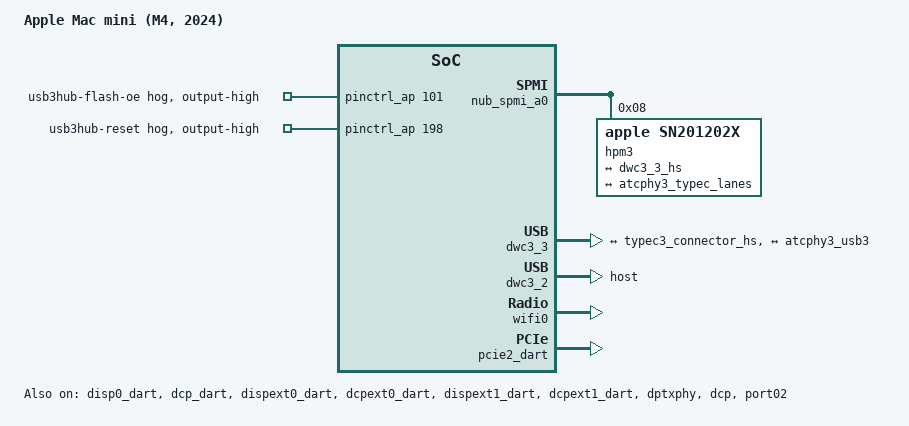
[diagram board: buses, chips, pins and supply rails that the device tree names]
// SPDX-License-Identifier: GPL-2.0+ OR MIT
/*
 * Apple Mac mini (M4, 2024)
 *
 * target-type: J773g
 *
 * Copyright The Asahi Linux Contributors
 */

/dts-v1/;

#include "t8132.dtsi"
#include "t8132-jxxx.dtsi"

/ {
	compatible = "apple,j773g", "apple,t8132", "apple,arm-platform";
	model = "Apple Mac mini (M4, 2024)";

	aliases {
		ethernet0 = &ethernet0;
	};
};

/* Persistent console capture for early T8132 bring-up failures.  Keep this
 * near the top of RAM, outside m1n1's kernel/initramfs load area. */
&{/reserved-memory} {
	ramoops@103e0000000 {
		compatible = "ramoops";
		reg = <0x103 0xe0000000 0x0 0x200000>;
		record-size = <0x40000>;
		console-size = <0x100000>;
		pmsg-size = <0x40000>;
	};
};

/*
 * Keep the power-domains used for the HDMI port on.
 */
&framebuffer0 {
	power-domains = <&ps_dispext0_cpu>, <&ps_dptx_phy>;
};

&disp0_dart {
	status = "okay";
};

&dcp_dart {
	status = "okay";
};

&dcp_mbox {
	status = "okay";
};

&dispext0_dart {
	status = "okay";
};

&dcpext0_dart {
	status = "okay";
};

&dcpext0_mbox {
	status = "okay";
};

&dispext1_dart {
	status = "okay";
};

&dcpext1_dart {
	status = "okay";
};

&dcpext1_mbox {
	status = "okay";
};

&dptxphy {
	status = "okay";
};

&dcp {
	status = "okay";
	/* Expose the primary and overlay surfaces. */
	apple,iomfb-surfaces = <1 1 0 0>;
	apple,iomfb-surface-order = <0 1>;
	apple,iomfb-primary-surface = <0>;
	apple,connector-type = "HDMI-A";
	phys = <&dptxphy>;
	phy-names = "dp-phy";
	apple,dptx-phy = <4>;
	hdmi-pwren-gpios = <&smc_gpio 15 GPIO_ACTIVE_HIGH>;
	dp2hdmi-pwren-gpios = <&smc_gpio 26 GPIO_ACTIVE_HIGH>;
};

/* This desktop experiment is entirely RAM/network backed. Do not expose the
 * internal SSD to userspace or desktop automounters. */
&nvme {
	status = "disabled";
};

/*
 * Provide labels for the USB type C ports.
 */

&typec0 {
	label = "USB-C Back-middle";
};

&typec1 {
	label = "USB-C Back-left";
};

// The front ports are on dwc/atcphy2 via a hub

&nub_spmi_a0 {
	hpm3: usb-pd@8 {
		compatible = "apple,sn201202x";
		reg = <0x8 SPMI_USID>;
		interrupts = <63 IRQ_TYPE_EDGE_RISING>,
			<64 IRQ_TYPE_EDGE_RISING>,
			<69 IRQ_TYPE_EDGE_RISING>,
			<71 IRQ_TYPE_EDGE_RISING>;
		interrupt-names = "irq", "select", "sleep", "wake";

		typec3: connector {
			label = "USB-C Back-right";
			compatible = "usb-c-connector";
			power-role = "dual";
			data-role = "dual";

			ports {
				#address-cells = <1>;
				#size-cells = <0>;
				port@0 {
					reg = <0>;
					typec3_connector_hs: endpoint {
						remote-endpoint = <&dwc3_3_hs>;
					};
				};
				port@1 {
					reg = <1>;
					typec3_connector_ss: endpoint {
						remote-endpoint = <&atcphy3_typec_lanes>;
					};
				};
			};
		};
	};
};

&atcphy3 {
	ports {
		#address-cells = <1>;
		#size-cells = <0>;

		port@0 {
			reg = <0>;
			atcphy3_typec_lanes: endpoint {
				remote-endpoint = <&typec3_connector_ss>;
			};
		};

		port@1 {
			reg = <1>;
			atcphy3_usb3: endpoint {
				remote-endpoint = <&dwc3_3_ss>;
			};
		};
	};
};

&dwc3_3 {
	ports {
		#address-cells = <1>;
		#size-cells = <0>;

		port@0 {
			reg = <0>;
			dwc3_3_hs: endpoint {
				remote-endpoint = <&typec3_connector_hs>;
			};
		};
		port@1 {
			reg = <1>;
			dwc3_3_ss: endpoint {
				remote-endpoint = <&atcphy3_usb3>;
			};
		};
	};
};

/* The two front ports are behind a permanently attached host-only hub. */
&dwc3_2 {
	dr_mode = "host";
	/delete-property/ role-switch-default-mode;
};

&atcphy2 {
	apple,fixed-usb3;
	apple,fixed-lane-swap;
	/delete-property/ orientation-switch;
	/delete-property/ mode-switch;
};

&pinctrl_ap {
	usb3hub-flash-oe-hog {
		gpio-hog;
		gpios = <101 GPIO_ACTIVE_HIGH>;
		output-high;
		line-name = "usb3hub-flash-oe";
	};

	usb3hub-reset-hog {
		gpio-hog;
		gpios = <198 GPIO_ACTIVE_HIGH>;
		output-high;
		line-name = "usb3hub-reset";
	};
};

&wifi0 {
	brcm,board-type = "apple,sakhalin";
};

&bluetooth0 {
       brcm,board-type = "apple,sakhalin";
};

&port02 {
	bus-range = <2 2>;
	status = "okay";
	ethernet0: ethernet@0,0 {
		reg = <0x20000 0x0 0x0 0x0 0x0>;
		/* To be filled by the loader */
		local-mac-address = [00 10 18 00 00 00];
	};
};

&pcie2_dart {
        status = "okay";
};

&pcie0 {
	iommu-map = <0x100 &pcie0_dart 1 1>,
	            <0x200 &pcie2_dart 1 1>;
};

#include "hwmon-common.dtsi"
#include "hwmon-mini.dtsi"
